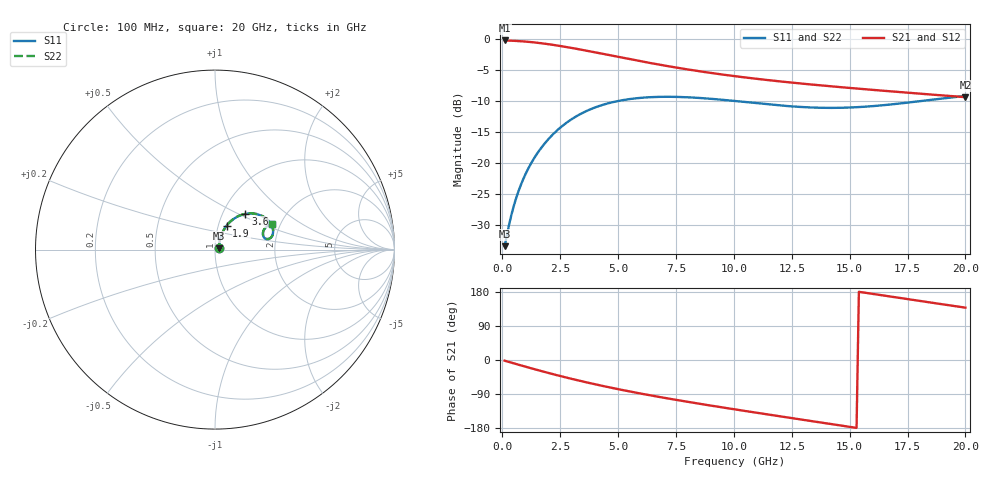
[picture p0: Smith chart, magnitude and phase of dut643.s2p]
! Touchstone file exported from HFSS 2024.1.0
!  File:  C:/UserFiles/LocalFiles/RDL_TSV_Batchsim/temp_RDL_TSV_643_1779807414.aedt
!  Generated:  11:10:09 PM May 26, 2026
!  Design:  RDL_TSV
!  Project:  temp_RDL_TSV_643_1779807414
!  Setup:  Setup1
!  Solution:  Sweep
! Variables:
!  dtsv = 7.07um
!  hbump = 3um
!  htsv = 59.97um
!  ldown = 362.44um
!  lrdl = 597.37um
!  p = 40
!  p1 = 47.27um
!  rhole = 10um
!  subl = 3476.8um
!  t = 450um
!  tdown = 3.44um
!  trdl = 4.61um
!  viad = 10um
!  wdown = 11.95um
!  wrdl = 19.87um
!  xbump = 18um
# GHz S MA R 50.000000
! Terminal data exported
! Port[1] = TM1_1_T1
! Port[2] = TM1_4_T1
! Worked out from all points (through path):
!   200 points, 100 MHz to 20 GHz, reference 50 ohm
!   highest |S21| = -0.17 dB at 100 MHz (marker M1); lowest = -9.3 dB at 20 GHz (marker M2)
!   group delay of S21, straight-line fit = 29.1 ps
!   lowest |S11| = -33.5 dB at 100 MHz (marker M3), VSWR 1.04, Z = 52 + j0.862 ohm
!   |S11| at or under -10 dB: start of sweep to 4.961 GHz; 10.13 GHz to 18.03 GHz (7.902 GHz wide, 56.1 % of centre)
!   |S22| runs from -33.5 to -9.1 dB; largest |S21 - S12| = 9.6e-15
!   S11 on the Smith chart (normalised r, x): 100 MHz: 1.04, +0.02; 1.9 GHz: 1.10, +0.30; 3.6 GHz: 1.28, +0.55; 20 GHz: 1.82, +0.58
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0.1  0.02122 23.0  0.9804 -1.8  0.9804 -1.8  0.02122 23.0
! Gamma 0 0 0 0
! Port Impedance 50 0 50 0
0.4  0.03847 53.5  0.976 -7.2  0.976 -7.2  0.03847 53.5
0.6  0.05205 60.5  0.9719 -10.7  0.9719 -10.7  0.05204 60.5
0.8  0.06632 64.0  0.9666 -14.2  0.9666 -14.2  0.06632 64.0
1  0.08104 65.7  0.9603 -17.6  0.9603 -17.6  0.08104 65.8
1.3  0.1036 66.3  0.9488 -22.7  0.9488 -22.7  0.1036 66.4
1.9  0.1491 64.0  0.9196 -32.7  0.9196 -32.7  0.1492 64.1
2.7  0.2067 57.8  0.8719 -45.3  0.8719 -45.3  0.207 58.0
3.5  0.256 50.4  0.8194 -57.1  0.8194 -57.1  0.2565 50.6
3.6  0.2614 49.5  0.8127 -58.5  0.8127 -58.5  0.2619 49.6
4.3  0.2939 43.0  0.7666 -68.0  0.7666 -68.0  0.2945 43.1
5  0.3173 36.9  0.7223 -76.9  0.7223 -76.9  0.3181 37.0
5.9  0.3356 29.9  0.6701 -87.7  0.6701 -87.7  0.3365 30.0
6.8  0.3428 24.0  0.6239 -97.7  0.6239 -97.7  0.3438 24.1
8.4  0.3369 16.3  0.5565 -114.3  0.5565 -114.3  0.3381 16.4
10.1  0.3167 11.9  0.5024 -130.9  0.5024 -130.9  0.3178 12.0
11.7  0.2955 11.4  0.4634 -145.9  0.4634 -145.9  0.2967 11.5
13.4  0.281 14.2  0.4305 -161.7  0.4305 -161.7  0.282 14.3
15  0.281 18.4  0.4048 -176.4  0.4048 -176.4  0.2821 18.6
16.7  0.2965 22.4  0.3808 168.0  0.3808 168.0  0.2975 22.5
18.4  0.3223 24.2  0.3593 152.5  0.3593 152.5  0.3234 24.3
20  0.349 23.8  0.3409 138.2  0.3409 138.2  0.3502 24.0
